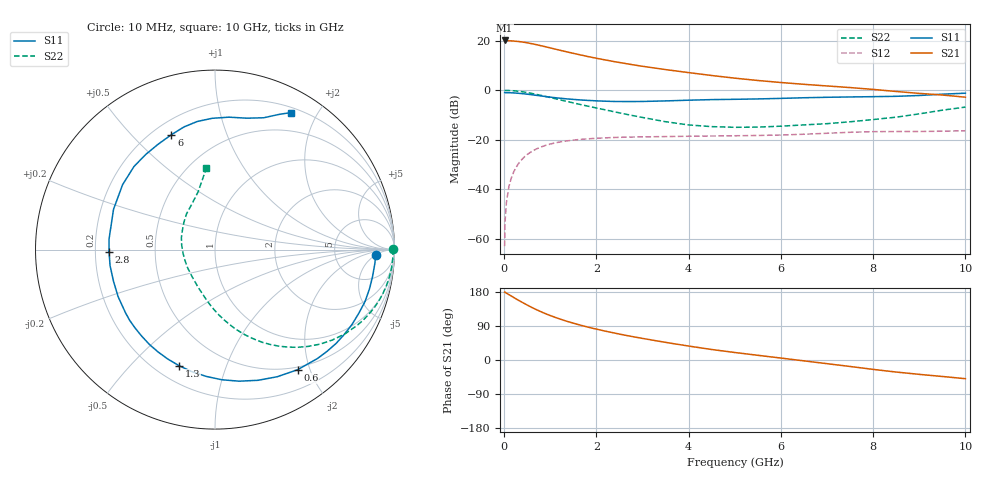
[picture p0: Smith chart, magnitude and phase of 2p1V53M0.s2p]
! (c) 2009  Infineon Technologies AG, Munich
! Infineon Technologies  Discrete & RF Semiconductors
! BFP420
! VCE =  1.5 V,  IC =  3.0 mA
! Common Emitter S-Parameters:  Nov 2009
# GHz  S  MA  R  50
!  f  S11  S21  S12  S22
! GHz  MAG  ANG  MAG  ANG  MAG  ANG  MAG  ANG
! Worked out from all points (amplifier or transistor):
!   46 points, 10 MHz to 10 GHz, reference 50 ohm
!   highest |S21| = 20.2 dB at 10 MHz (marker M1)
!   |S21| within 3 dB of that: start of sweep to 997.7 MHz
!   unconditionally stable (mu >= 1): 3.507 GHz to end of sweep
!   at 300 MHz: K = 0.06, MSG = 24.9 dB, |S12| = -30.0 dB
!   at 1.7 GHz: K = 0.45, MSG = 17.0 dB, |S12| = -19.8 dB
!   at 10 GHz: K = 1.17, MAG = 4.3 dB, |S12| = -16.4 dB
!   lowest NFmin = 0.57 dB at 900 MHz
!   S11 on the Smith chart (normalised r, x): 10 MHz: 17, -5; 600 MHz: 0.46, -1.81; 1.3 GHz: 0.29, -0.70; 2.8 GHz: 0.26, -0.01; 6 GHz: 0.27, +0.65; 10 GHz: 0.26, +1.66
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0.01  0.8984 -1.8  10.18 179.3  0.0007 95.9  0.9902 0.1
0.02  0.8941 -1.9  9.932 178.9  0.0022 95.0  0.9916 -1.1
0.05  0.8945 -4.6  9.974 176.3  0.0054 87.2  0.9915 -2.9
0.15  0.888 -14.3  9.98 169.1  0.0162 82.4  0.9838 -8.8
0.25  0.8763 -23.8  9.792 161.8  0.0267 76.9  0.9674 -14.6
0.4  0.8535 -37.8  9.432 151.6  0.0412 69.1  0.929 -22.9
0.6  0.8121 -55.5  8.75 138.7  0.058 59.8  0.8622 -33.1
0.7  0.7887 -63.9  8.364 132.8  0.065 55.5  0.8246 -37.7
0.9  0.7454 -79.6  7.567 122.1  0.0767 48.0  0.7495 -46.0
1.1  0.7083 -93.9  6.829 112.8  0.0858 41.8  0.6784 -53.2
1.3  0.6773 -107.1  6.16 104.5  0.0927 36.3  0.6126 -59.7
1.5  0.6525 -119.1  5.585 97.2  0.098 31.7  0.5543 -65.4
1.7  0.6319 -130.2  5.082 90.5  0.1021 27.7  0.5033 -70.6
2.2  0.6 -154.2  4.091 76.0  0.109 19.8  0.3998 -82.0
2.8  0.5906 -178.9  3.267 61.4  0.1131 12.8  0.3058 -95.6
3.5  0.6084 158.3  2.618 46.5  0.1155 6.9  0.2309 -113.8
4.5  0.6467 134.2  1.989 27.7  0.1186 1.0  0.1836 -145.7
5.5  0.6674 118.2  1.576 12.4  0.1216 -2.8  0.1797 -174.3
6  0.6846 110.8  1.434 5.1  0.1243 -4.1  0.1875 172.1
7  0.7206 97.9  1.222 -9.7  0.1347 -8.0  0.2108 149.5
8.5  0.7536 76.3  0.944 -31.8  0.1462 -18.7  0.2854 116.7
10  0.8717 61.1  0.724 -49.3  0.1516 -25.5  0.4562 96.1
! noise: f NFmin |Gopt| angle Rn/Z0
0.9  0.57  0.35  33  0.18
1.8  1.02  0.2  79  0.14
2.4  1.1  0.23  104  0.14
3  1.25  0.24  144  0.11
4  1.46  0.33  -159  0.1
5  1.9  0.39  -128  0.22
6  2.46  0.48  -107  0.35
